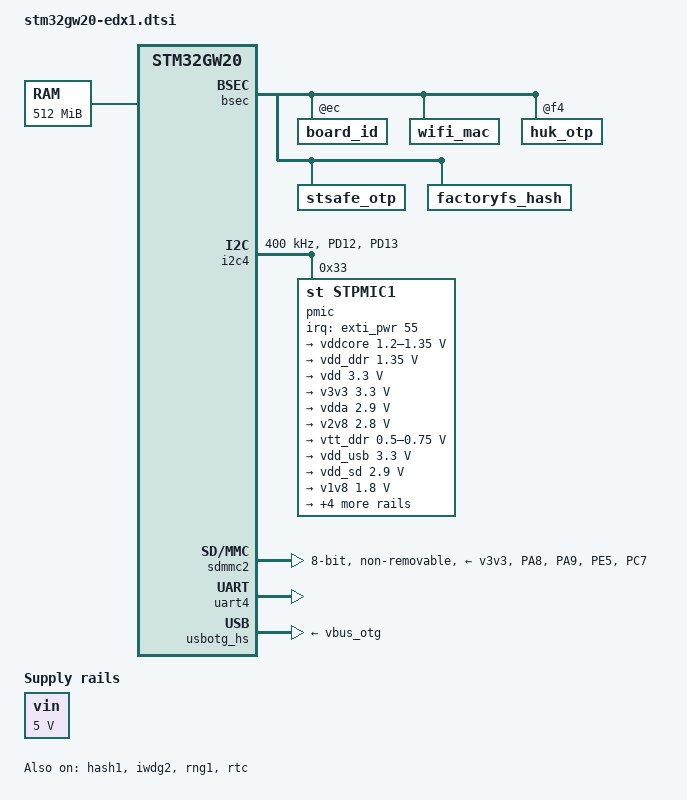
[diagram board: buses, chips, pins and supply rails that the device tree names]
// SPDX-License-Identifier: (GPL-2.0+ OR BSD-3-Clause)
/*
 * Copyright (C) STMicroelectronics 2017 - All Rights Reserved
 * Author: Ludovic Barre <ludovic.barre@st.com> for STMicroelectronics.
 */

#include <dt-bindings/clock/stm32mp1-clksrc.h>
#include <dt-bindings/power/stm32mp1-power.h>

/ {
	memory@c0000000 {
		device_type = "memory";
		reg = <0xC0000000 0x20000000>;
	};

	vin: vin {
		compatible = "regulator-fixed";
		regulator-name = "vin";
		regulator-min-microvolt = <5000000>;
		regulator-max-microvolt = <5000000>;
		regulator-always-on;
	};
};

&bsec {
	board_id: board_id@ec {
		reg = <0xec 0x4>;
		st,non-secure-otp;
	};
	wifi_mac: wifi_mac@114 {
		reg = <0x114 0x8>;
		st,non-secure-otp;
	};
	huk_otp: huk_otp@f4 {
		reg = <0xf4 0x10>;
		st,non-secure-otp;
	};
	stsafe_otp: stsafe_otp@104 {
                reg = <0x104 0x10>;
                st,non-secure-otp;
        };
	factoryfs_hash: factoryfs_hash@11c {
		reg = <0x11c 0x20>;
		st,non-secure-otp;
	};
};

&clk_hse {
	st,digbypass;
};

&cpu0{
	cpu-supply = <&vddcore>;
};

&hash1 {
	status = "okay";
};

&pinctrl {
	i2c4_pins_b: i2c4-0 {
		pins {
			pinmux = <STM32_PINMUX('D', 12, AF4)>, /* I2C4_SCL */
					 <STM32_PINMUX('D', 13, AF4)>; /* I2C4_SDA */
			bias-pull-up;
			drive-open-drain;
			slew-rate = <0>;
		};
	};

	sdmmc2_d47_pins_b: sdmmc2-d47-0 {
		pins {
			pinmux = <STM32_PINMUX('A', 8, AF9)>, /* SDMMC2_D4 */
					 <STM32_PINMUX('A', 9, AF10)>, /* SDMMC2_D5 */
					 <STM32_PINMUX('E', 5, AF9)>, /* SDMMC2_D6 */
					 <STM32_PINMUX('C', 7, AF10)>; /* SDMMC2_D7 */
			slew-rate = <1>;
			drive-push-pull;
			bias-pull-up;
		};
	};
};

&pinctrl_z {
	st,package = <STM32MP_PKG_AB>;

	gpioz: gpio@54004000 {
		status = "disabled";
		secure-status = "disabled";
		ngpios = <8>;
	};
};

&i2c4 {
	pinctrl-names = "default";
	pinctrl-0 = <&i2c4_pins_b>;
	i2c-scl-rising-time-ns = <100>;
	i2c-scl-falling-time-ns = <3>;
	clock-frequency = <400000>;
	status = "okay";
	secure-status = "okay";

	stsafe: stsafe_a {
		compatible = "st,stsafe";
		reg = <0x20>;
		status = "disabled";
		secure-status = "okay";
	};

	pmic: stpmic@33 {
		compatible = "st,stpmic1";
		reg = <0x33>;
		interrupts-extended = <&exti_pwr 55 IRQ_TYPE_EDGE_FALLING>;
		interrupt-controller;
		#interrupt-cells = <2>;
		status = "okay";
		secure-status = "okay";

		st,main-control-register = <0x04>;
		st,vin-control-register = <0xc0>;
		st,usb-control-register = <0x20>;

		user-keys {
			compatible = "st,stpmic1-gw20";
			factory_reset: ponkey {
				ponkey-name = "ponkey-button";
				ponkey-longpress-time = <3>;
				ponkey-reset-on-longpress;
			};
		};

		regulators {
			compatible = "st,stpmic1-regulators";
			buck1-supply = <&vin>;
			buck2-supply = <&vin>;
			buck3-supply = <&vin>;
			buck4-supply = <&vin>;
			ldo1-supply = <&v3v3>;
			ldo2-supply = <&v3v3>;
			ldo3-supply = <&vdd_ddr>;
			ldo4-supply = <&vin>;
			ldo5-supply = <&v3v3>;
			ldo6-supply = <&v3v3>;
			vref_ddr-supply = <&vin>;
			boost-supply = <&vin>;
			pwr_sw1-supply = <&bst_out>;
			pwr_sw2-supply = <&bst_out>;

			vddcore: buck1 {
				regulator-name = "vddcore";
				regulator-min-microvolt = <1200000>;
				regulator-max-microvolt = <1350000>;
				regulator-always-on;
				regulator-initial-mode = <0>;
				regulator-over-current-protection;
				lp-stop {
					regulator-on-in-suspend;
					regulator-suspend-microvolt = <1200000>;
				};
				lplv-stop {
					regulator-on-in-suspend;
					regulator-suspend-microvolt = <900000>;
				};
				standby-ddr-sr {
					regulator-off-in-suspend;
				};
				standby-ddr-off {
					regulator-off-in-suspend;
				};
			};

			vdd_ddr: buck2 {
				regulator-name = "vdd_ddr";
				regulator-min-microvolt = <1350000>;
				regulator-max-microvolt = <1350000>;
				regulator-always-on;
				regulator-initial-mode = <0>;
				regulator-over-current-protection;
				lp-stop {
					regulator-suspend-microvolt = <1350000>;
					regulator-on-in-suspend;
				};
				lplv-stop {
					regulator-suspend-microvolt = <1350000>;
					regulator-on-in-suspend;
				};
				standby-ddr-sr {
					regulator-suspend-microvolt = <1350000>;
					regulator-on-in-suspend;
				};
				standby-ddr-off {
					regulator-off-in-suspend;
				};
			};

			vdd: buck3 {
				regulator-name = "vdd";
				regulator-min-microvolt = <3300000>;
				regulator-max-microvolt = <3300000>;
				regulator-always-on;
				st,mask-reset;
				regulator-initial-mode = <0>;
				regulator-over-current-protection;
				lp-stop {
					regulator-suspend-microvolt = <3300000>;
					regulator-on-in-suspend;
				};
				lplv-stop {
					regulator-suspend-microvolt = <3300000>;
					regulator-on-in-suspend;
				};
				standby-ddr-sr {
					regulator-suspend-microvolt = <3300000>;
					regulator-on-in-suspend;
				};
				standby-ddr-off {
					regulator-suspend-microvolt = <3300000>;
					regulator-on-in-suspend;
				};
			};

			v3v3: buck4 {
				regulator-name = "v3v3";
				regulator-min-microvolt = <3300000>;
				regulator-max-microvolt = <3300000>;
				regulator-always-on;
				regulator-over-current-protection;
				regulator-initial-mode = <0>;
				standby-ddr-sr {
					regulator-off-in-suspend;
				};
				standby-ddr-off {
					regulator-off-in-suspend;
				};
			};

			vdda: ldo1 {
				regulator-name = "vdda";
				regulator-min-microvolt = <2900000>;
				regulator-max-microvolt = <2900000>;
				standby-ddr-sr {
					regulator-off-in-suspend;
				};
				standby-ddr-off {
					regulator-off-in-suspend;
				};
			};

			v2v8: ldo2 {
				regulator-name = "v2v8";
				regulator-min-microvolt = <2800000>;
				regulator-max-microvolt = <2800000>;
				standby-ddr-sr {
					regulator-off-in-suspend;
				};
				standby-ddr-off {
					regulator-off-in-suspend;
				};
			};

			vtt_ddr: ldo3 {
				regulator-name = "vtt_ddr";
				regulator-min-microvolt = <500000>;
				regulator-max-microvolt = <750000>;
				regulator-always-on;
				regulator-over-current-protection;
				lp-stop {
					regulator-off-in-suspend;
				};
				lplv-stop {
					regulator-off-in-suspend;
				};
				standby-ddr-sr {
					regulator-off-in-suspend;
				};
				standby-ddr-off {
					regulator-off-in-suspend;
				};
			};

			vdd_usb: ldo4 {
				regulator-name = "vdd_usb";
				regulator-min-microvolt = <3300000>;
				regulator-max-microvolt = <3300000>;
				regulator-always-on;
				standby-ddr-sr {
					regulator-on-in-suspend;
				};
				standby-ddr-off {
					regulator-off-in-suspend;
				};
			};

			vdd_sd: ldo5 {
				regulator-name = "vdd_sd";
				regulator-min-microvolt = <2900000>;
				regulator-max-microvolt = <2900000>;
				regulator-boot-on;
				standby-ddr-sr {
					regulator-off-in-suspend;
				};
				standby-ddr-off {
					regulator-off-in-suspend;
				};
			};

			v1v8: ldo6 {
				regulator-name = "v1v8";
				regulator-min-microvolt = <1800000>;
				regulator-max-microvolt = <1800000>;
				standby-ddr-sr {
					regulator-off-in-suspend;
				};
				standby-ddr-off {
					regulator-off-in-suspend;
				};
			};

			vref_ddr: vref_ddr {
				regulator-name = "vref_ddr";
				regulator-always-on;
				regulator-over-current-protection;
				lp-stop {
					regulator-on-in-suspend;
				};
				lplv-stop {
					regulator-on-in-suspend;
				};
				standby-ddr-sr {
					regulator-on-in-suspend;
				};
				standby-ddr-off {
					regulator-off-in-suspend;
				};
			};

			bst_out: boost {
				regulator-name = "bst_out";
			};

			vbus_otg: pwr_sw1 {
				regulator-name = "vbus_otg";
			};

			vbus_sw: pwr_sw2 {
				regulator-name = "vbus_sw";
				regulator-active-discharge = <1>;
			};
		};
	};
};

&iwdg2 {
	timeout-sec = <32>;
	status = "okay";
	secure-status = "okay";
};

&nvmem_layout {
	nvmem-cells = <&cfg0_otp>,
			   <&part_number_otp>,
			   <&monotonic_otp>,
			   <&nand_otp>,
			   <&uid_otp>,
			   <&package_otp>,
			   <&hw2_otp>,
			   <&pkh_otp>,
			   <&board_id>,
			   <&wifi_mac>,
			   <&huk_otp>,
			   <&stsafe_otp>,
			   <&factoryfs_hash>;

	nvmem-cell-names = "cfg0_otp",
			   "part_number_otp",
			   "monotonic_otp",
			   "nand_otp",
			   "uid_otp",
			   "package_otp",
			   "hw2_otp",
			   "pkh_otp",
			   "board_id",
			   "wifi_mac",
			   "huk_otp",
			   "stsafe_otp",
			   "factoryfs_hash";
};

&pwr_regulators {
	system_suspend_supported_soc_modes = <
		STM32_PM_CSLEEP_RUN
		STM32_PM_CSTOP_ALLOW_LP_STOP
		STM32_PM_CSTOP_ALLOW_LPLV_STOP
		STM32_PM_CSTOP_ALLOW_STANDBY_DDR_SR
	>;
	system_off_soc_mode = <STM32_PM_CSTOP_ALLOW_STANDBY_DDR_OFF>;
	vdd-supply = <&vdd>;
	vdd_3v3_usbfs-supply = <&vdd_usb>;
};

&rcc {
	secure-status = "okay";
	st,hsi-cal;
	st,csi-cal;
	st,cal-sec = <60>;
	st,clksrc = <
		CLK_MPU_PLL1P
		CLK_AXI_PLL2P
		CLK_MCU_PLL3P
		CLK_PLL12_HSE
		CLK_PLL3_HSE
		CLK_PLL4_HSE
		CLK_RTC_LSE
		CLK_MCO1_LSE
		CLK_MCO2_DISABLED
	>;

	st,clkdiv = <
		1 /*MPU*/
		0 /*AXI*/
		0 /*MCU*/
		1 /*APB1*/
		1 /*APB2*/
		1 /*APB3*/
		1 /*APB4*/
		2 /*APB5*/
		23 /*RTC*/
		0 /*MCO1*/
		0 /*MCO2*/
	>;

	st,pkcs = <
		CLK_CKPER_HSE
		CLK_STGEN_HSE
		CLK_USBPHY_HSE
		CLK_I2C46_HSI
		CLK_USBO_USBPHY
		CLK_ADC_CKPER
		CLK_CEC_LSE
		CLK_UART24_HSI
		CLK_RNG1_LSI
		CLK_RNG2_LSI
		CLK_LPTIM1_PCLK1
		CLK_LPTIM23_PCLK3
		CLK_LPTIM45_LSE
		CLK_ETH_PLL4P
		CLK_SDMMC12_PLL3R
		CLK_SDMMC3_DISABLED
	>;

	/* VCO = 1300.0 MHz => P = 650 (CPU) */
	pll1: st,pll@0 {
		cfg = < 2 80 0 0 0 PQR(1,0,0) >;
		frac = < 0x800 >;
	};

	/* VCO = 1066.0 MHz => P = 266 (AXI), Q = 533 (GPU), R = 509 (DDR) */
	pll2: st,pll@1 {
		cfg = < 2 62 1 1 0 PQR(1,0,1) >;
		frac = < 0x1400 >;
	};

	/* VCO = 400 MHz => P = 200, Q = 100, R = 100 */
	pll3: st,pll@2 {
		cfg = < 5 99 1 3 3 PQR(1,0,1)  >;
		frac = < 0x0000 >;
	};

	/* VCO = 600.0 MHz => P = 25, Q = 50, R = 50 */
	pll4: st,pll@3 {
	cfg = < 1 49 11 9 9 PQR(1,1,1) >;
	};
};

&rng1 {
	status = "okay";
	secure-status = "okay";
};

&rtc {
	status = "okay";
	secure-status = "okay";
};

&sdmmc2 {
	pinctrl-names = "default";
	pinctrl-0 = <&sdmmc2_b4_pins_a &sdmmc2_d47_pins_b>;
	non-removable;
	no-sd;
	no-sdio;
	st,neg-edge;
	bus-width = <8>;
	vmmc-supply = <&v3v3>;
	vqmmc-supply = <&vdd>;
	mmc-ddr-3_3v;
	status = "okay";
};

&timers15 {
	secure-status = "okay";
	st,hsi-cal-input = <7>;
	st,csi-cal-input = <8>;
};

&uart4 {
	pinctrl-names = "default";
	pinctrl-0 = <&uart4_pins_a>;
	status = "okay";
};

&usbotg_hs {
	vbus-supply = <&vbus_otg>;
};

&usbphyc_port0 {
	phy-supply = <&vdd_usb>;
};

&usbphyc_port1 {
	phy-supply = <&vdd_usb>;
};
